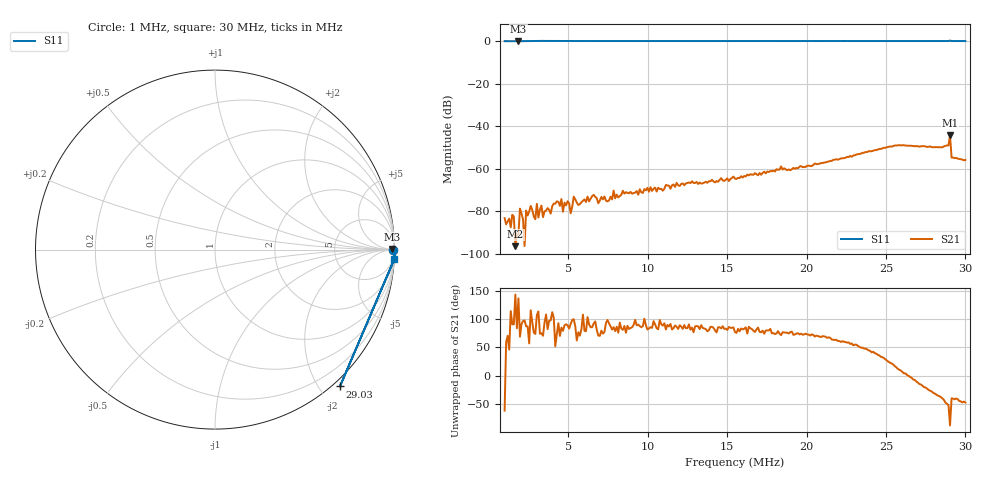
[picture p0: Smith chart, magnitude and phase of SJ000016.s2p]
!File created by NanoVNA-F V2
# Hz S RI R 50
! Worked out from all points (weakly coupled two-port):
!   301 points, 1 MHz to 30 MHz, reference 50 ohm
!   highest |S21| = -44.32 dB at 29.03 MHz (marker M1); lowest = -96.5 dB at 1.677 MHz (marker M2)
!   lowest |S11| = -0.1 dB at 1.87 MHz (marker M3), VSWR 172.76, Z = 7.91e+03 + j2.39e+03 ohm
!   |S11| at or under -10 dB: nowhere
!   S12 and S22 are empty: the file has one direction only
!   S11 on the Smith chart (normalised r, x): 1 MHz: open; 29.03 MHz: -0.10, -2.26; 30 MHz: -0, -38
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1000000  0.9933 -0.00408  3.3e-05 -6e-05  0 0  0 0
1676662  0.9903 0.00163  -1.2e-05 9e-06  0 0  0 0
1869994  0.9885 0.00346  -2.1e-05 2e-05  0 0  0 0
2933320  1.008 0.00438  1.8e-05 6.2e-05  0 0  0 0
3029986  1.006 -0.000265  -4.4e-05 0.000142  0 0  0 0
3126652  1.009 0.00112  -2.8e-05 6.5e-05  0 0  0 0
3319984  1.008 -0.00344  3.5e-05 0.000131  0 0  0 0
3899980  1.005 -0.0065  -1.2e-05 8.7e-05  0 0  0 0
4576642  1.004 -0.00951  1.7e-05 0.000192  0 0  0 0
4673308  1.003 -0.00911  1.8e-05 9.5e-05  0 0  0 0
4963306  1.004 -0.0103  3e-06 0.000171  0 0  0 0
5156638  1.003 -0.0111  -2e-06 8.9e-05  0 0  0 0
5349970  1.002 -0.0109  -3.7e-05 0.000216  0 0  0 0
5833300  1.002 -0.0119  2.2e-05 0.00016  0 0  0 0
1.06666e7  1 -0.0206  4.9e-05 0.000352  0 0  0 0
1.54999e7  0.9999 -0.0274  0.000131 0.000564  0 0  0 0
2.03332e7  0.9994 -0.0358  0.000336 0.0011  0 0  0 0
2.51665e7  0.9996 -0.0447  0.00295 0.00136  0 0  0 0
2.893647e7  1 -0.0518  0.00218 -0.00274  0 0  0 0
2.903314e7  0.6962 -0.7623  0.00029 -0.00608  0 0  0 0
2.912981e7  0.999 -0.052  0.0014 -0.00116  0 0  0 0
2.99998e7  0.999 -0.0528  0.00109 -0.00117  0 0  0 0
